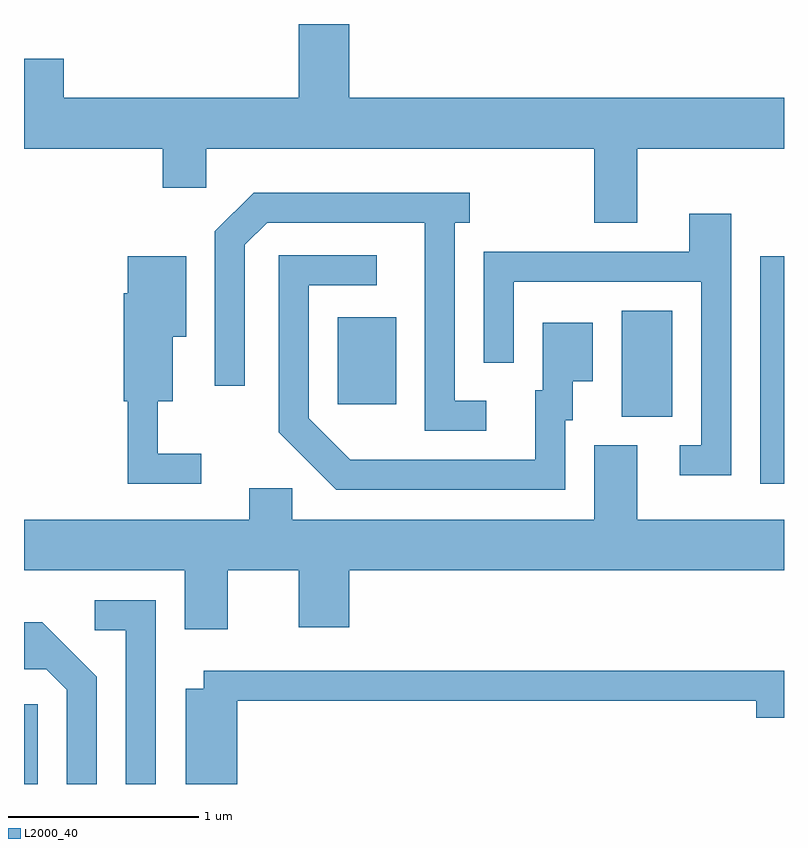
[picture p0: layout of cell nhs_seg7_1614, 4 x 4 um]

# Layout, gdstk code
import gdstk
lib = gdstk.Library(unit=1e-6, precision=1e-09)
def R(c, l, rs):  # rectangles x0, y0, x1, y1
    for r in rs: c.add(gdstk.rectangle(r[:2], r[2:], *l))
def P(c, l, *ps):  # polygons
    for p in ps: c.add(gdstk.Polygon(p, *l))
L2000_40 = (2000, 40)

nhs_seg7_1614 = lib.new_cell('nhs_seg7_1614')
R(nhs_seg7_1614, L2000_40, [(233.611,1764.252,233.684,1764.673), (237.486,1765.831,237.611,1767.029), (236.756,1766.186,237.024,1766.744), (235.261,1766.251,235.569,1766.709)])
P(nhs_seg7_1614, L2000_40, [(236.839,1767.596),(237.611,1767.596),(237.611,1767.864),(235.324,1767.864),(235.324,1768.252),(235.056,1768.252),(235.056,1767.864),(233.819,1767.864),(233.819,1768.069),(233.611,1768.069),(233.611,1767.596),(234.341,1767.596),(234.341,1767.391),(234.569,1767.391),(234.569,1767.596),(236.611,1767.596),(236.611,1767.206),(236.839,1767.206)],
  [(236.043,1766.269),(235.879,1766.269),(235.879,1767.206),(235.958,1767.206),(235.958,1767.364),(234.819,1767.364),(234.616,1767.162),(234.616,1766.348),(234.774,1766.348),(234.774,1767.089),(234.892,1767.206),(235.721,1767.206),(235.721,1766.111),(236.043,1766.111)],
  [(237.334,1767.254),(237.111,1767.254),(237.111,1767.054),(236.031,1767.054),(236.031,1766.468),(236.189,1766.468),(236.189,1766.896),(237.176,1766.896),(237.176,1766.034),(237.063,1766.034),(237.063,1765.876),(237.334,1765.876)],
  [(236.459,1766.166),(236.499,1766.166),(236.499,1766.371),(236.604,1766.371),(236.604,1766.679),(236.341,1766.679),(236.341,1766.324),(236.301,1766.324),(236.301,1765.959),(235.327,1765.959),(235.109,1766.177),(235.109,1766.876),(235.468,1766.876),(235.468,1767.034),(234.951,1767.034),(234.951,1766.104),(235.254,1765.801),(236.459,1765.801)],
  [(234.543,1765.989),(234.314,1765.989),(234.314,1766.266),(234.394,1766.266),(234.394,1766.606),(234.464,1766.606),(234.464,1767.029),(234.156,1767.029),(234.156,1766.834),(234.136,1766.834),(234.136,1766.266),(234.156,1766.266),(234.156,1765.831),(234.543,1765.831)],
  [(235.056,1765.076),(235.324,1765.076),(235.324,1765.376),(237.611,1765.376),(237.611,1765.644),(236.839,1765.644),(236.839,1766.034),(236.611,1766.034),(236.611,1765.644),(235.024,1765.644),(235.024,1765.809),(234.796,1765.809),(234.796,1765.644),(233.611,1765.644),(233.611,1765.376),(234.456,1765.376),(234.456,1765.066),(234.684,1765.066),(234.684,1765.376),(235.056,1765.376)],
  [(234.304,1765.219),(233.983,1765.219),(233.983,1765.061),(234.146,1765.061),(234.146,1764.252),(234.304,1764.252)],
  [(233.994,1764.817),(233.707,1765.104),(233.611,1765.104),(233.611,1764.856),(233.729,1764.856),(233.836,1764.749),(233.836,1764.252),(233.994,1764.252)],
  [(234.734,1764.691),(237.466,1764.691),(237.466,1764.601),(237.611,1764.601),(237.611,1764.849),(234.556,1764.849),(234.556,1764.754),(234.461,1764.754),(234.461,1764.252),(234.734,1764.252)])

lib.write_gds('nhs_seg7_1614.gds')
